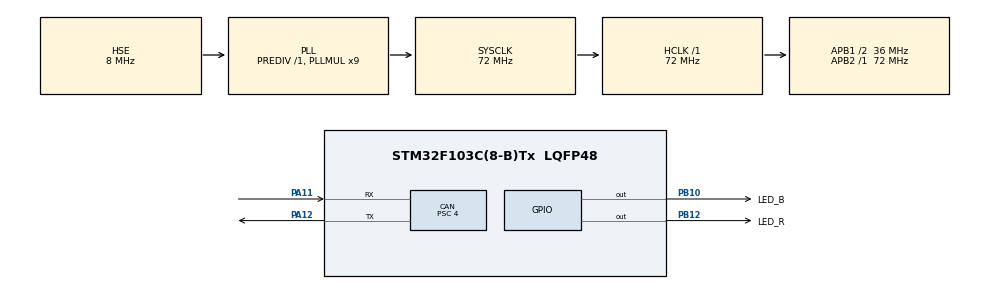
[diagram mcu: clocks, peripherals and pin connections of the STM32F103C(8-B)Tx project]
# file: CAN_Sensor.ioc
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CAN.BS1=CAN_BS1_13TQ
CAN.BS2=CAN_BS2_4TQ
CAN.CalculateBaudRate=500000
CAN.CalculateTimeBit=2000
CAN.CalculateTimeQuantum=111.11111111111111
CAN.Prescaler=4
CAN.SJW=CAN_SJW_2TQ
Mcu.Family=STM32F1
Mcu.Name=STM32F103C(8-B)Tx
Mcu.Package=LQFP48
NVIC.PriorityGroup=NVIC_PRIORITYGROUP_4
NVIC.TIM3_IRQn=true\:0\:0\:false\:false\:true\:true\:true\:true
NVIC.USB_LP_CAN1_RX0_IRQn=true\:0\:0\:false\:false\:true\:true\:true\:true
PA11.Mode=CAN_Activate
PA11.Signal=CAN_RX
PA12.Mode=CAN_Activate
PA12.Signal=CAN_TX
PB10.GPIO_Label=LED_B
PB10.Signal=GPIO_Output
PB12.GPIO_Label=LED_R
PB12.Signal=GPIO_Output
PD0-OSC_IN.Mode=HSE-External-Oscillator
PD0-OSC_IN.Signal=RCC_OSC_IN
PD1-OSC_OUT.Mode=HSE-External-Oscillator
PD1-OSC_OUT.Signal=RCC_OSC_OUT
ProjectManager.HeapSize=0x200
ProjectManager.StackSize=0x400
ProjectManager.TargetToolchain=STM32CubeIDE
RCC.AHBFreq_Value=72000000
RCC.APB1CLKDivider=RCC_HCLK_DIV2
RCC.APB1Freq_Value=36000000
RCC.APB1TimFreq_Value=72000000
RCC.APB2Freq_Value=72000000
RCC.APB2TimFreq_Value=72000000
RCC.HCLKFreq_Value=72000000
RCC.PLLMUL=RCC_PLL_MUL9
RCC.PLLSourceVirtual=RCC_PLLSOURCE_HSE
RCC.SYSCLKFreq_VALUE=72000000
RCC.SYSCLKSource=RCC_SYSCLKSOURCE_PLLCLK
RCC.USBFreq_Value=72000000
TIM3.Period=999
TIM3.Prescaler=1439
VP_SYS_VS_ND.Mode=No_Debug
VP_TIM3_VS_ClockSourceINT.Mode=Internal
board=custom

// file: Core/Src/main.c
/* USER CODE BEGIN Header */
/**
  ******************************************************************************
  * @file           : main.c
  * @brief          : Main program body
  ******************************************************************************
  * @attention
  *
  * Copyright (c) 2024 STMicroelectronics.
  * All rights reserved.
  *
  * This software is licensed under terms that can be found in the LICENSE file
  * in the root directory of this software component.
  * If no LICENSE file comes with this software, it is provided AS-IS.
  *
  ******************************************************************************
  */
/* USER CODE END Header */
#include "main.h"
#include "can.h"
#include "tim.h"
#include "gpio.h"

void SystemClock_Config(void);
/* USER CODE BEGIN PFP */
void CAN_Response(void);
uint8_t calc_CRC8_SAEJ1850(uint8_t *data, uint8_t length);
/* USER CODE END PFP */

/* USER CODE BEGIN 0 */
void CAN_Response(void)
{
	can_tx_buffer[0] = can_rx_buffer[0];
	can_tx_buffer[1] = can_rx_buffer[1];
	can_tx_buffer[5] = 0x01;
	can_tx_buffer[2] = can_tx_buffer[1] + can_tx_buffer[0];
	can_tx_buffer[7] = calc_CRC8_SAEJ1850(can_tx_buffer, CAN_DATA_LENGTH - 1);

	if(HAL_CAN_AddTxMessage(&hcan, &can_tx_header, can_tx_buffer, &can_mailbox) != HAL_OK)
	{
		Error_Handler();
	}
}

uint8_t calc_CRC8_SAEJ1850(uint8_t *data, uint8_t length) {
    uint8_t crc = INITIAL_VAL;

    for (size_t byte = 0; byte < length; byte++) {
        crc ^= data[byte];
        for (size_t bit = 0; bit < 8; bit++) {
			crc = (crc << 1) ^ (crc & 0x80 ? CRC8_SAEJ1850_POLY : 0);
        }
    }
    return (crc ^ FINAL_XOR_VAL) & 0xFF;
}

void HAL_TIM_PeriodElapsedCallback(TIM_HandleTypeDef *htim)
{
  /* Prevent unused argument(s) compilation warning */
  UNUSED(htim);
  if(htim == &htim3){
	  if(data_received_flag){
		  data_received_flag = 0;
		  CAN_Response();
	  }
  }
}
/* USER CODE END 0 */

int main(void)
{

  /* MCU Configuration--------------------------------------------------------*/

  /* Reset of all peripherals, Initializes the Flash interface and the Systick. */
  HAL_Init();

  /* Configure the system clock */
  SystemClock_Config();

  /* Initialize all configured peripherals */
  MX_GPIO_Init();
  MX_CAN_Init();
  MX_TIM3_Init();
  /* USER CODE BEGIN 2 */
  HAL_CAN_Start(&hcan);
  HAL_TIM_Base_Start_IT(&htim3);
  /* USER CODE END 2 */

  /* Infinite loop */
  while (1)
  {

  }
}

void SystemClock_Config(void)
{
  RCC_OscInitTypeDef RCC_OscInitStruct = {0};
  RCC_ClkInitTypeDef RCC_ClkInitStruct = {0};

  /** Initializes the RCC Oscillators according to the specified parameters
  * in the RCC_OscInitTypeDef structure.
  */
  RCC_OscInitStruct.OscillatorType = RCC_OSCILLATORTYPE_HSE;
  RCC_OscInitStruct.HSEState = RCC_HSE_ON;
  RCC_OscInitStruct.HSEPredivValue = RCC_HSE_PREDIV_DIV1;
  RCC_OscInitStruct.HSIState = RCC_HSI_ON;
  RCC_OscInitStruct.PLL.PLLState = RCC_PLL_ON;
  RCC_OscInitStruct.PLL.PLLSource = RCC_PLLSOURCE_HSE;
  RCC_OscInitStruct.PLL.PLLMUL = RCC_PLL_MUL9;
  if (HAL_RCC_OscConfig(&RCC_OscInitStruct) != HAL_OK)
  {
    Error_Handler();
  }

  /** Initializes the CPU, AHB and APB buses clocks
  */
  RCC_ClkInitStruct.ClockType = RCC_CLOCKTYPE_HCLK|RCC_CLOCKTYPE_SYSCLK
                              |RCC_CLOCKTYPE_PCLK1|RCC_CLOCKTYPE_PCLK2;
  RCC_ClkInitStruct.SYSCLKSource = RCC_SYSCLKSOURCE_PLLCLK;
  RCC_ClkInitStruct.AHBCLKDivider = RCC_SYSCLK_DIV1;
  RCC_ClkInitStruct.APB1CLKDivider = RCC_HCLK_DIV2;
  RCC_ClkInitStruct.APB2CLKDivider = RCC_HCLK_DIV1;

  if (HAL_RCC_ClockConfig(&RCC_ClkInitStruct, FLASH_LATENCY_2) != HAL_OK)
  {
    Error_Handler();
  }
}

void Error_Handler(void)
{
  __disable_irq();
  while (1)
  {
  }
}
